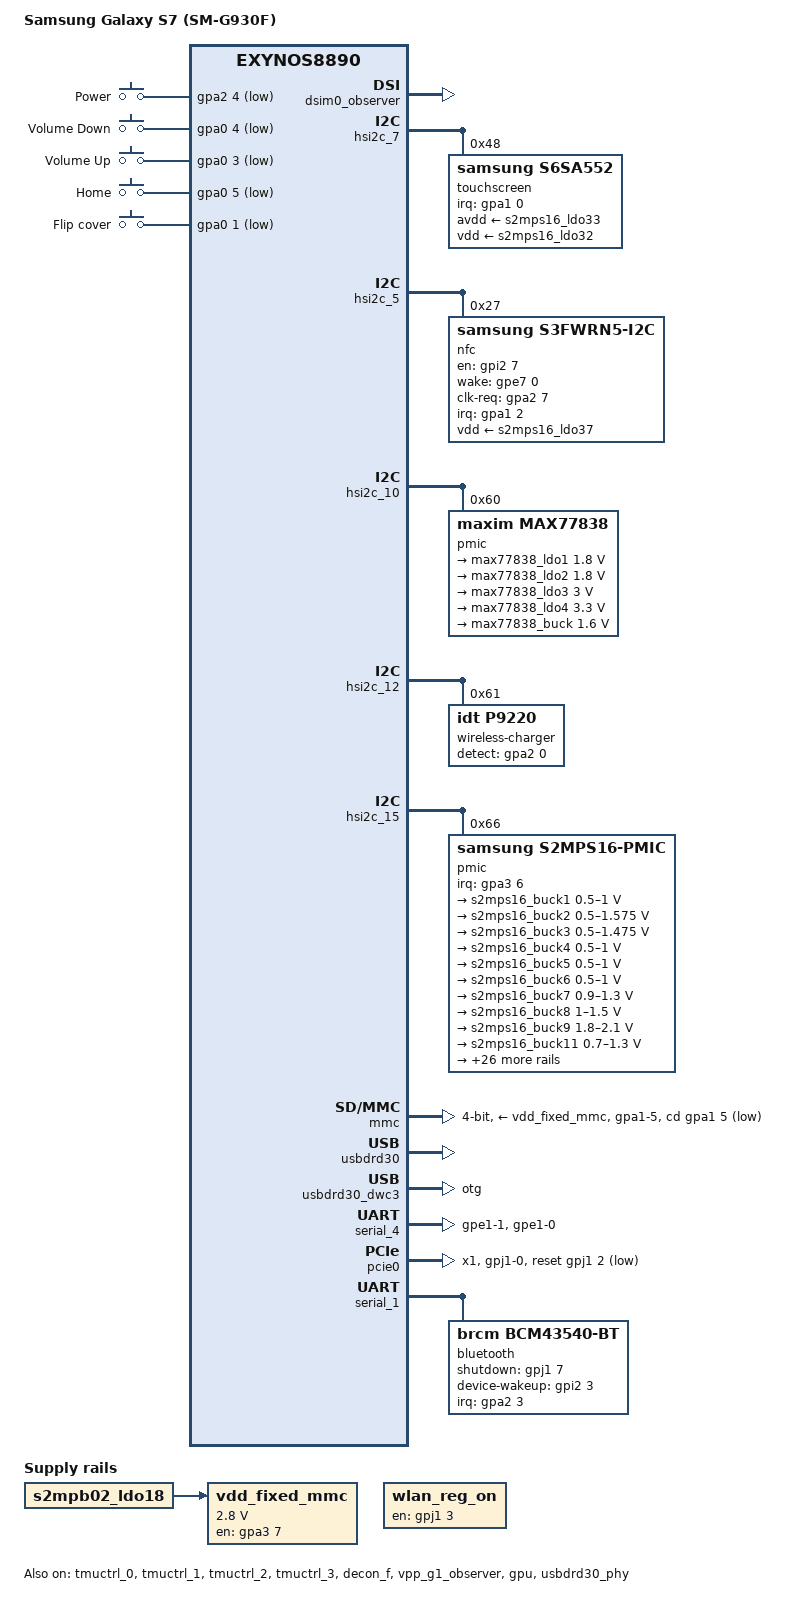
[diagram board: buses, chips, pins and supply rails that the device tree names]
// SPDX-License-Identifier: GPL-2.0 OR BSD-3-Clause
/*
 * Samsung Galaxy S7 (herolte/SM-G930F) device tree source
 *
 * Copyright (c) 2025 Ivaylo Ivanov <ivo.ivanov.ivanov1@gmail.com>
 */

/dts-v1/;
#include "exynos8890.dtsi"
#include "exynos8890-max77854.dtsi"
#include <dt-bindings/gpio/gpio.h>
#include <dt-bindings/input/input.h>
#include <dt-bindings/interrupt-controller/irq.h>
#include "exynos8890-herolte-s2mpb02.dtsi"

/ {
	model = "Samsung Galaxy S7 (SM-G930F)";
	compatible = "samsung,herolte", "samsung,exynos8890";
	chassis-type = "handset";

	aliases {
		mmc0 = &mmc;
		spi0 = &spi_0;
		serial0 = &serial_4; // UART
		serial1 = &serial_1; // Bluetooth
	};

	chosen {
		#address-cells = <2>;
		#size-cells = <1>;
		ranges;

		framebuffer@e2a00000 {
			compatible = "simple-framebuffer";
			reg = <0x0 0xe2a00000 (1440 * 2560 * 4)>;

			width = <1440>;
			height = <2560>;
			stride = <(1440 * 4)>;
			format = "a8r8g8b8";

			/* these are required until there's a display driver */
			vci-supply = <&max77838_ldo1>;
			vdd3-supply = <&max77838_ldo3>;
		};
	};

	gpio-keys {
		compatible = "gpio-keys";

		pinctrl-0 = <&key_power &key_voldown &key_volup &key_home
			     &hall_flip>;
		pinctrl-names = "default";

		power-key {
			label = "Power";
			gpios = <&gpa2 4 GPIO_ACTIVE_LOW>;
			wakeup-source;
			linux,code = <KEY_POWER>;
		};

		voldown-key {
			label = "Volume Down";
			gpios = <&gpa0 4 GPIO_ACTIVE_LOW>;
			linux,code = <KEY_VOLUMEDOWN>;
		};

		volup-key {
			label = "Volume Up";
			gpios = <&gpa0 3 GPIO_ACTIVE_LOW>;
			linux,code = <KEY_VOLUMEUP>;
		};

		home-key {
			label = "Home";
			gpios = <&gpa0 5 GPIO_ACTIVE_LOW>;
			linux,code = <KEY_HOMEPAGE>;
			wakeup-source;
		};

		hall-switch {
			label = "Flip cover";
			gpios = <&gpa0 1 GPIO_ACTIVE_LOW>;
			linux,input-type = <EV_SW>;
			linux,code = <SW_LID>;
			wakeup-source;
		};
	};

	thermal-zones {
		mngs-thermal {
			polling-delay-passive = <0>;
			polling-delay = <1000>;
			thermal-sensors = <&tmuctrl_0>;
		};

		apollo-thermal {
			polling-delay-passive = <0>;
			polling-delay = <1000>;
			thermal-sensors = <&tmuctrl_1>;
		};

		gpu-thermal {
			polling-delay-passive = <0>;
			polling-delay = <1000>;
			thermal-sensors = <&tmuctrl_2>;
		};

		isp-thermal {
			polling-delay-passive = <0>;
			polling-delay = <1000>;
			thermal-sensors = <&tmuctrl_3>;
		};
	};

	memory@80000000 {
		device_type = "memory";
		reg = <0x0 0x80000000 0x7e400000>,
		      <0x8 0x80000000 0x80000000>;
	};

	reserved-memory {
		#address-cells = <2>;
		#size-cells = <1>;
		ranges;

		ect_reserved: ect@a0000000 {
			reg = <0x0 0xa0000000 0x19000>;
			no-map;
		};

		tima@b1000000 {
			reg = <0x0 0xb1000000 0x200000>;
			no-map;
		};

		video-fw@c0800000 {
			reg = <0x0 0xc0800000 0x400000>;
			no-map;
		};

		video-stream@c1000000 {
			reg = <0x0 0xc1000000 0x1400000>;
			no-map;
		};

		video-frame@c2400000 {
			reg = <0x0 0xc2400000 0x6400000>;
			no-map;
		};

		video-scaler@c8800000 {
			reg = <0x0 0xc8800000 0x4800000>;
			no-map;
		};

		gpu-crc@cd000000 {
			reg = <0x0 0xcd000000 0x800000>;
			no-map;
		};

		gpu-buffer@cd800000 {
			reg = <0x0 0xcd800000 0x3000000>;
			no-map;
		};

		modem@f0000000 {
			reg = <0x0 0xf0000000 0x8800000>;
			no-map;
		};

		secure-camera@fc000000 {
			reg = <0x0 0xfc000000 0x1c00000>;
			no-map;
		};

		ramoops@92000000 {
			compatible = "ramoops";
			reg = <0x0 0x92000000 0x8000>;
			console-size = <0x4000>;
			record-size = <0x4000>;
		};

		cont_splash_mem: framebuffer@e2a00000 {
			reg = <0x0 0xe2a00000 (1440 * 2560 * 4)>;
			no-map;
		};
	};

	firmware {
		ect {
			compatible = "samsung,exynos8890-ect";
			memory-region = <&ect_reserved>;
			method = "smc";
		};
	};

	vdd_fixed_mmc: regulator-fixed-mmc {
		compatible = "regulator-fixed";

		enable-active-high;
		gpio = <&gpa3 7 GPIO_ACTIVE_HIGH>;
		vin-supply = <&s2mpb02_ldo18>;

		regulator-max-microvolt = <2800000>;
		regulator-min-microvolt = <2800000>;
		regulator-name = "vdd_fixed_mmc";
	};

	gpu_opp_table: opp-table-gpu {
		compatible = "operating-points-v2";

		opp-227500000 {
			opp-hz = /bits/ 64 <227500000>;
			opp-microvolt = <1000000>;
		};

		opp-455000000 {
			opp-hz = /bits/ 64 <455000000>;
			opp-microvolt = <1000000>;
		};
	};

	nfc_clock: nfc-clock {
		compatible = "samsung,exynos8890-nfc-clock";
		#clock-cells = <0>;
		clocks = <&oscclk>;
		samsung,pmu-syscon = <&pmu_system_controller>;
	};
};

&tmuctrl_0 {
	status = "okay";
};

&tmuctrl_1 {
	status = "okay";
};

&tmuctrl_2 {
	status = "okay";
};

&tmuctrl_3 {
	status = "okay";
};

&decon_f {
	status = "okay";
};

&dsim0_observer {
	status = "okay";
};

&vpp_g1_observer {
	status = "okay";
};

&sysmmu_disp01_observer {
	status = "okay";
};

&gpu {
	/* we can only afford a slightly higher rate till there's dvfs */
	assigned-clocks = <&cmu_top CLK_FOUT_G3D_PLL>;
	assigned-clock-rates = <455000000>;

	mali-supply = <&s2mps16_buck6>;
	operating-points-v2 = <&gpu_opp_table>;

	status = "okay";
};

&hsi2c_7 {
	status = "okay";

	touchscreen@48 {
		compatible = "samsung,s6sa552";
		reg = <0x48>;

		avdd-supply = <&s2mps16_ldo33>;
		vdd-supply = <&s2mps16_ldo32>;

		interrupt-parent = <&gpa1>;
		interrupts = <0 IRQ_TYPE_LEVEL_LOW>;

		pinctrl-0 = <&ts_int>;
		pinctrl-names = "default";
	};
};

&hsi2c_2 {
	proximity@28 {
		compatible = "semtech,sx9310";
		reg = <0x28>;
		interrupt-parent = <&gpa2>;
		interrupts = <5 IRQ_TYPE_LEVEL_LOW>;
		#io-channel-cells = <1>;
		status = "disabled"; /* supplies are not identified by vendor DT */
	};
};

&hsi2c_5 {
	status = "okay";

	nfc@27 {
		compatible = "samsung,s3fwrn5-i2c";
		reg = <0x27>;

		interrupt-parent = <&gpa1>;
		interrupts = <2 IRQ_TYPE_EDGE_RISING>;

		en-gpios = <&gpi2 7 GPIO_ACTIVE_HIGH>;
		wake-gpios = <&gpe7 0 GPIO_ACTIVE_HIGH>;
		clk-req-gpios = <&gpa2 7 GPIO_ACTIVE_HIGH>;
		clocks = <&nfc_clock>;
		vdd-supply = <&s2mps16_ldo37>;
		wakeup-source;
	};
};

&hsi2c_10 {
	status = "okay";

	pmic@60 {
		compatible = "maxim,max77838";
		reg = <0x60>;

		regulators {
			max77838_ldo1: ldo1 {
				regulator-boot-on;
				regulator-min-microvolt = <1800000>;
				regulator-max-microvolt = <1800000>;
				regulator-name = "max77838_ldo1";
			};

			max77838_ldo2: ldo2 {
				regulator-min-microvolt = <1800000>;
				regulator-max-microvolt = <1800000>;
				regulator-name = "max77838_ldo2";
			};

			max77838_ldo3: ldo3 {
				regulator-boot-on;
				regulator-min-microvolt = <3000000>;
				regulator-max-microvolt = <3000000>;
				regulator-name = "max77838_ldo3";
			};

			max77838_ldo4: ldo4 {
				regulator-min-microvolt = <3300000>;
				regulator-max-microvolt = <3300000>;
				regulator-name = "max77838_ldo4";
			};

			max77838_buck: buck {
				regulator-boot-on;
				regulator-min-microvolt = <1600000>;
				regulator-max-microvolt = <1600000>;
				regulator-name = "max77838_buck";
			};
		};
	};
};

&hsi2c_12 {
	status = "okay";

	wireless-charger@61 {
		compatible = "idt,p9220";
		reg = <0x61>;
		detect-gpios = <&gpa2 0 GPIO_ACTIVE_HIGH>;
		pinctrl-0 = <&wpc_detect>;
		pinctrl-names = "default";
	};
};

&hsi2c_15 {
	#address-cells = <1>;
	#size-cells = <0>;
	status = "okay";

	pmic@66 {
		compatible = "samsung,s2mps16-pmic";
		reg = <0x66>;
		interrupts = <6 IRQ_TYPE_LEVEL_LOW>;
		interrupt-parent = <&gpa3>;
		pinctrl-names = "default";
		pinctrl-0 = <&pmic_irq>;
		wakeup-source;

		s2mps16_osc: clocks {
			compatible = "samsung,s2mps16-clk";
			#clock-cells = <1>;
			clock-output-names = "s2mps16_ap", "s2mps16_cp",
					     "s2mps16_bt";
		};

		regulators {
			s2mps16_buck1: buck1 {
				regulator-always-on;
				regulator-min-microvolt = <500000>;
				regulator-max-microvolt = <1000000>;
				regulator-name = "vdd_buck1";
				regulator-ramp-delay = <12000>;
			};

			s2mps16_buck2: buck2 {
				regulator-always-on;
				regulator-min-microvolt = <500000>;
				regulator-max-microvolt = <1575000>;
				regulator-name = "vdd_buck2";
				regulator-ramp-delay = <12000>;
			};

			s2mps16_buck3: buck3 {
				regulator-always-on;
				regulator-min-microvolt = <500000>;
				regulator-max-microvolt = <1475000>;
				regulator-name = "vdd_buck3";
				regulator-ramp-delay = <12000>;
			};

			s2mps16_buck4: buck4 {
				regulator-always-on;
				regulator-min-microvolt = <500000>;
				regulator-max-microvolt = <1000000>;
				regulator-name = "vdd_buck4";
				regulator-ramp-delay = <12000>;
			};

			s2mps16_buck5: buck5 {
				regulator-always-on;
				regulator-min-microvolt = <500000>;
				regulator-max-microvolt = <1000000>;
				regulator-name = "vdd_buck5";
				regulator-ramp-delay = <12000>;
			};

			s2mps16_buck6: buck6 {
				regulator-always-on;
				regulator-min-microvolt = <500000>;
				regulator-max-microvolt = <1000000>;
				regulator-name = "vdd_buck6";
				regulator-ramp-delay = <12000>;
			};

			s2mps16_buck7: buck7 {
				regulator-always-on;
				regulator-min-microvolt = <900000>;
				regulator-max-microvolt = <1300000>;
				regulator-name = "vdd_buck7";
				regulator-ramp-delay = <12000>;
			};

			s2mps16_buck8: buck8 {
				regulator-always-on;
				regulator-min-microvolt = <1000000>;
				regulator-max-microvolt = <1500000>;
				regulator-name = "vdd_buck8";
				regulator-ramp-delay = <2000>;
			};

			s2mps16_buck9: buck9 {
				regulator-always-on;
				regulator-min-microvolt = <1800000>;
				regulator-max-microvolt = <2100000>;
				regulator-name = "vdd_buck9";
				regulator-ramp-delay = <2700>;
			};

			/* buck10 is used for CP but lacks documentation */

			s2mps16_buck11: buck11 {
				regulator-always-on;
				regulator-min-microvolt = <700000>;
				regulator-max-microvolt = <1300000>;
				regulator-name = "vdd_buck11";
				regulator-ramp-delay = <12000>;
			};

			s2mps16_ldo1: ldo1 {
				regulator-always-on;
				regulator-min-microvolt = <500000>;
				regulator-max-microvolt = <900000>;
				regulator-name = "vdd_ldo1";
				regulator-ramp-delay = <12000>;
			};

			s2mps16_ldo2: ldo2 {
				regulator-min-microvolt = <1800000>;
				regulator-max-microvolt = <2800000>;
				regulator-name = "vdd_ldo2";
				regulator-ramp-delay = <12000>;
			};

			s2mps16_ldo3: ldo3 {
				regulator-always-on;
				regulator-min-microvolt = <1620000>;
				regulator-max-microvolt = <1980000>;
				regulator-name = "vdd_ldo3";
				regulator-ramp-delay = <12000>;
			};

			s2mps16_ldo4: ldo4 {
				regulator-always-on;
				regulator-min-microvolt = <800000>;
				regulator-max-microvolt = <1110000>;
				regulator-name = "vdd_ldo4";
				regulator-ramp-delay = <12000>;
			};

			s2mps16_ldo5: ldo5 {
				regulator-always-on;
				regulator-min-microvolt = <1625000>;
				regulator-max-microvolt = <1975000>;
				regulator-ramp-delay = <12000>;
				regulator-name = "vdd_ldo5";
			};

			s2mps16_ldo6: ldo6 {
				regulator-always-on;
				regulator-min-microvolt = <2250000>;
				regulator-max-microvolt = <3300000>;
				regulator-ramp-delay = <12000>;
				regulator-name = "vdd_ldo6";
			};

			s2mps16_ldo7: ldo7 {
				regulator-always-on;
				regulator-min-microvolt = <700000>;
				regulator-max-microvolt = <1250000>;
				regulator-ramp-delay = <12000>;
				regulator-name = "vdd_ldo7";
			};

			s2mps16_ldo8: ldo8 {
				regulator-always-on;
				regulator-min-microvolt = <700000>;
				regulator-max-microvolt = <1000000>;
				regulator-name = "vdd_ldo8";
				regulator-ramp-delay = <12000>;
			};

			s2mps16_ldo9: ldo9 {
				regulator-always-on;
				regulator-min-microvolt = <700000>;
				regulator-max-microvolt = <1000000>;
				regulator-name = "vdd_ldo9";
				regulator-ramp-delay = <12000>;
			};

			s2mps16_ldo10: ldo10 {
				regulator-always-on;
				regulator-min-microvolt = <700000>;
				regulator-max-microvolt = <1200000>;
				regulator-name = "vdd_ldo10";
				regulator-ramp-delay = <12000>;
			};

			s2mps16_ldo11: ldo11 {
				regulator-always-on;
				regulator-min-microvolt = <700000>;
				regulator-max-microvolt = <1000000>;
				regulator-name = "vdd_ldo11";
				regulator-ramp-delay = <12000>;
			};

			s2mps16_ldo12: ldo12 {
				regulator-always-on;
				regulator-min-microvolt = <1000000>;
				regulator-max-microvolt = <1300000>;
				regulator-name = "vdd_ldo12";
				regulator-ramp-delay = <12000>;
			};

			s2mps16_ldo13: ldo13 {
				regulator-always-on;
				regulator-min-microvolt = <1000000>;
				regulator-max-microvolt = <1300000>;
				regulator-name = "vdd_ldo13";
				regulator-ramp-delay = <12000>;
			};

			/* ldo14-24 are used for CP but lack documentation */

			s2mps16_ldo25: ldo25 {
				regulator-always-on;
				regulator-boot-on;
				regulator-min-microvolt = <700000>;
				regulator-max-microvolt = <1000000>;
				regulator-name = "vdd_ldo25";
				regulator-ramp-delay = <12000>;
			};

			s2mps16_ldo26: ldo26 {
				regulator-min-microvolt = <1000000>;
				regulator-max-microvolt = <1200000>;
				regulator-name = "vdd_ldo26";
				regulator-ramp-delay = <12000>;
			};

			s2mps16_ldo27: ldo27 {
				regulator-always-on;
				regulator-boot-on;
				regulator-min-microvolt = <1200000>;
				regulator-max-microvolt = <1200000>;
				regulator-name = "vdd_ldo27";
				regulator-ramp-delay = <12000>;
			};

			s2mps16_ldo28: ldo28 {
				regulator-always-on;
				regulator-boot-on;
				regulator-min-microvolt = <2800000>;
				regulator-max-microvolt = <2800000>;
				regulator-name = "vdd_ldo28";
			};

			s2mps16_ldo29: ldo29 {
				regulator-min-microvolt = <3300000>;
				regulator-max-microvolt = <3300000>;
				regulator-name = "vdd_ldo29";
			};

			s2mps16_ldo30: ldo30 {
				regulator-always-on;
				regulator-boot-on;
				regulator-min-microvolt = <1800000>;
				regulator-max-microvolt = <1800000>;
				regulator-name = "vdd_ldo30";
			};

			s2mps16_ldo31: ldo31 {
				regulator-min-microvolt = <1200000>;
				regulator-max-microvolt = <1200000>;
				regulator-name = "vdd_ldo31";
			};

			s2mps16_ldo32: ldo32 {
				regulator-min-microvolt = <1800000>;
				regulator-max-microvolt = <1800000>;
				regulator-name = "vdd_ldo32";
			};

			s2mps16_ldo33: ldo33 {
				regulator-min-microvolt = <3300000>;
				regulator-max-microvolt = <3300000>;
				regulator-name = "vdd_ldo33";
			};

			s2mps16_ldo34: ldo34 {
				regulator-min-microvolt = <3300000>;
				regulator-max-microvolt = <3300000>;
				regulator-name = "vdd_ldo34";
			};

			s2mps16_ldo35: ldo35 {
				regulator-min-microvolt = <3000000>;
				regulator-max-microvolt = <3000000>;
				regulator-name = "vdd_ldo35";
			};

			s2mps16_ldo36: ldo36 {
				regulator-min-microvolt = <1800000>;
				regulator-max-microvolt = <1800000>;
				regulator-name = "vdd_ldo36";
			};

			s2mps16_ldo37: ldo37 {
				regulator-min-microvolt = <1800000>;
				regulator-max-microvolt = <1800000>;
				regulator-name = "vdd_ldo37";
			};
		};
	};
};

&mmc {
	bus-width = <4>;

	card-detect-delay = <200>;
	cd-gpios = <&gpa1 5 GPIO_ACTIVE_LOW>;

	clock-frequency = <800000000>;

	disable-wp;

	pinctrl-names = "default";
	pinctrl-0 = <&sd2_clk &sd2_cmd &sd2_bus1 &sd2_bus4 &sd2_cd>;

	sd-uhs-sdr50;
	sd-uhs-sdr104;

	vmmc-supply = <&vdd_fixed_mmc>;
	vqmmc-supply = <&s2mps16_ldo2>;

	samsung,dw-mshc-ciu-div = <3>;
	samsung,dw-mshc-sdr-timing = <0 2>;
	samsung,dw-mshc-ddr-timing = <1 2>;
	samsung,voltage-int-extra = <0x7>;

	status = "okay";
};

&oscclk {
	clock-frequency = <26000000>;
};

&pinctrl_alive {
	wpc_detect: wpc-detect-pins {
		samsung,pin-function = <EXYNOS_PIN_FUNC_EINT>;
		samsung,pin-pud = <EXYNOS_PIN_PULL_DOWN>;
		samsung,pins = "gpa2-0";
	};

	key_power: key-power-pins {
		samsung,pin-drv = <EXYNOS7_PIN_DRV_LV1>;
		samsung,pin-function = <EXYNOS_PIN_FUNC_EINT>;
		samsung,pin-pud = <EXYNOS_PIN_PULL_NONE>;
		samsung,pins = "gpa2-4";
	};

	key_voldown: key-voldown-pins {
		samsung,pin-drv = <EXYNOS7_PIN_DRV_LV1>;
		samsung,pin-function = <EXYNOS_PIN_FUNC_EINT>;
		samsung,pin-pud = <EXYNOS_PIN_PULL_NONE>;
		samsung,pins = "gpa0-4";
	};

	key_volup: key-volup-pins {
		samsung,pin-drv = <EXYNOS7_PIN_DRV_LV1>;
		samsung,pin-function = <EXYNOS_PIN_FUNC_EINT>;
		samsung,pin-pud = <EXYNOS_PIN_PULL_NONE>;
		samsung,pins = "gpa0-3";
	};

	key_home: key-home-pins {
		samsung,pin-drv = <EXYNOS7_PIN_DRV_LV1>;
		samsung,pin-function = <EXYNOS_PIN_FUNC_EINT>;
		samsung,pin-pud = <EXYNOS_PIN_PULL_UP>;
		samsung,pins = "gpa0-5";
	};

	hall_flip: hall-flip-pins {
		samsung,pin-drv = <EXYNOS7_PIN_DRV_LV1>;
		samsung,pin-function = <EXYNOS_PIN_FUNC_EINT>;
		samsung,pin-pud = <EXYNOS_PIN_PULL_NONE>;
		samsung,pins = "gpa0-1";
	};

	pmic_irq: pmic-irq-pins {
		samsung,pin-drv = <EXYNOS7_PIN_DRV_LV4>;
		samsung,pin-pud = <EXYNOS_PIN_PULL_UP>;
		samsung,pins = "gpa3-6";
	};

	sd2_cd: sd2-cd-pins {
		samsung,pin-drv = <EXYNOS7_PIN_DRV_LV1>;
		samsung,pin-function = <EXYNOS_PIN_FUNC_EINT>;
		samsung,pin-pud = <EXYNOS_PIN_PULL_NONE>;
		samsung,pins = "gpa1-5";
	};

	ts_int: ts-int-pins {
		samsung,pin-drv = <EXYNOS7_PIN_DRV_LV1>;
		samsung,pin-function = <EXYNOS_PIN_FUNC_EINT>;
		samsung,pin-pud = <EXYNOS_PIN_PULL_NONE>;
		samsung,pins = "gpa1-0";
	};
};

&usbdrd30 {
	vdd10-supply = <&s2mps16_ldo4>;
	vdd33-supply = <&s2mps16_ldo6>;
	status = "okay";
};

&usbdrd30_dwc3 {
	dr_mode = "otg";
	extcon = <&max77854_muic>;
	maximum-speed = "high-speed";
	status = "okay";
};

&usbdrd30_phy {
	/* TODO: add regulators */
	status = "okay";
};

&serial_4 {
	/* multiplexed over muic */
	pinctrl-0 = <&uart4_hero_bus>;
	pinctrl-names = "default";
	status = "okay";
};
&pinctrl_peric1 {
	uart4_hero_bus: uart4-hero-bus-pins {
		samsung,pin-function = <EXYNOS_PIN_FUNC_2>;
		samsung,pin-pud = <EXYNOS_PIN_PULL_NONE>;
		samsung,pins = "gpe1-1", "gpe1-0";
	};

	pcie0_clkreq: pcie0-clkreq-pins {
		samsung,pins = "gpj1-0";
		samsung,pin-function = <EXYNOS_PIN_FUNC_2>;
		samsung,pin-pud = <EXYNOS_PIN_PULL_UP>;
		samsung,pin-drv = <EXYNOS7_PIN_DRV_LV4>;
	};
};

/ {
	wlan_reg_on: regulator-wlan-reg-on {
		compatible = "regulator-fixed";
		regulator-name = "wlan-reg-on";

		gpio = <&gpj1 3 GPIO_ACTIVE_HIGH>;
		enable-active-high;
		startup-delay-us = <200000>;
	};
};

&soc {
	pcie0: pcie@157a0000 {
		compatible = "samsung,exynos8890-pcie";
		device_type = "pci";
		reg = <0x157a0000 0x1000>,
		      <0x15660000 0x1000>,
		      <0x1c000000 0x1000>,
		      <0x15630000 0x1000>,
		      <0x15601044 0x10>,
		      <0x156f0000 0x128>;
		reg-names = "dbi", "elbi", "config", "phy", "sysreg", "pcs";

		interrupts = <GIC_SPI 204 IRQ_TYPE_LEVEL_HIGH>;
		interrupt-names = "msi";

		clocks = <&cmu_fsys1 CLK_GOUT_FSYS1_PCLK_PCIE_WIFI0>,
			 <&cmu_fsys1 CLK_GOUT_FSYS1_ACLK_PCIE_WIFI0_DBI>,
			 <&cmu_fsys1 CLK_GOUT_FSYS1_ACLK_PCIE_WIFI0_SLV>,
			 <&cmu_fsys1 CLK_GOUT_FSYS1_ACLK_PCIE_WIFI0_MSTR>,
			 <&cmu_fsys1 CLK_GOUT_FSYS1_ACLK_AHB2AXI_PCIE_WIFI0>,
			 <&cmu_fsys1 CLK_GOUT_FSYS1_ACLK_COMBO_PHY_PCS_PCLK_WIFI0>,
			 <&cmu_fsys1 CLK_GOUT_FSYS1_PCLK_COMBO_PHY_WIFI0>,
			 <&cmu_fsys1 CLK_GOUT_FSYS1_PHYCLK_PCIE_WIFI0_DIG_REFCLK>,
			 <&cmu_fsys1 CLK_GOUT_FSYS1_PHYCLK_PCIE_WIFI0_TX0>,
			 <&cmu_fsys1 CLK_GOUT_FSYS1_PHYCLK_PCIE_WIFI0_RX0>;
		clock-names = "pcie", "dbi", "slv", "mstr", "ahb", "pcs",
			      "phy-pclk", "phy-ref", "phy-tx", "phy-rx";

		samsung,pmu-syscon = <&pmu_system_controller>;
		reset-gpios = <&gpj1 2 GPIO_ACTIVE_LOW>;
		vpcie-supply = <&wlan_reg_on>;

		pinctrl-0 = <&pcie0_clkreq>;
		pinctrl-names = "default";

		#address-cells = <3>;
		#size-cells = <2>;
		#interrupt-cells = <1>;

		bus-range = <0x00 0xff>;
		num-lanes = <1>;
		max-link-speed = <1>;

		ranges = <0x81000000 0 0x00000000 0x1c001000 0 0x00010000>,
			 <0x82000000 0 0x1c011000 0x1c011000 0 0x01feefff>;

		interrupt-map-mask = <0 0 0 0>;
		interrupt-map = <0 0 0 0 &gic GIC_SPI 204 IRQ_TYPE_LEVEL_HIGH>;

		status = "okay";
	};
};

&serial_1 {
        uart-has-rtscts;
        status = "okay";

        bluetooth {
                compatible = "brcm,bcm43540-bt";

                shutdown-gpios = <&gpj1 7 GPIO_ACTIVE_HIGH>;
                device-wakeup-gpios = <&gpi2 3 GPIO_ACTIVE_HIGH>;

                interrupt-parent = <&gpa2>;
                interrupts = <3 IRQ_TYPE_EDGE_RISING>;
                interrupt-names = "host-wakeup";

                clocks = <&s2mps16_osc S2MPS11_CLK_BT>;
                clock-names = "lpo";
        };
};
